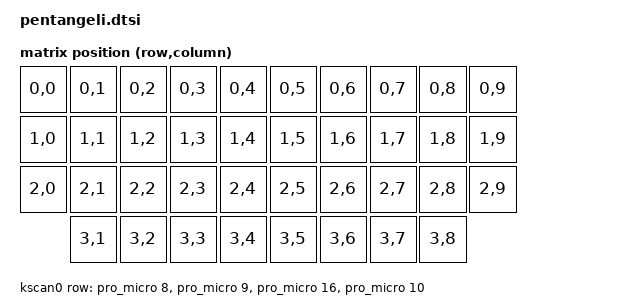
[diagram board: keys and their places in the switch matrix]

#include <dt-bindings/zmk/matrix_transform.h>

/ {
    chosen {
        zmk,kscan = &kscan0;
        zmk,matrix-transform = &default_transform;
    };

    default_transform: keymap_transform_0 {
        compatible = "zmk,matrix-transform";
        columns = <10>;
        rows = <4>;
        map = <
RC(0,0) RC(0,1) RC(0,2) RC(0,3) RC(0,4)  RC(0,5) RC(0,6) RC(0,7) RC(0,8) RC(0,9)
RC(1,0) RC(1,1) RC(1,2) RC(1,3) RC(1,4)  RC(1,5) RC(1,6) RC(1,7) RC(1,8) RC(1,9)
RC(2,0) RC(2,1) RC(2,2) RC(2,3) RC(2,4)  RC(2,5) RC(2,6) RC(2,7) RC(2,8) RC(2,9)
        RC(3,1) RC(3,2) RC(3,3) RC(3,4)  RC(3,5) RC(3,6) RC(3,7) RC(3,8)
        >;
    };

    kscan0: kscan {
        compatible = "zmk,kscan-gpio-matrix";
        wakeup-source;

        diode-direction = "col2row";
        row-gpios
            = <&pro_micro 8 (GPIO_ACTIVE_HIGH | GPIO_PULL_DOWN)>
            , <&pro_micro 9 (GPIO_ACTIVE_HIGH | GPIO_PULL_DOWN)>
            , <&pro_micro 16 (GPIO_ACTIVE_HIGH | GPIO_PULL_DOWN)>
            , <&pro_micro 10 (GPIO_ACTIVE_HIGH | GPIO_PULL_DOWN)>
            ;
    };

};

// Trackball
// https://github.com/badjeff/zmk-pmw3610-driver
&pinctrl {
    spi0_default: spi0_default {
        group1 {
            psels = <NRF_PSEL(SPIM_SCK, 0, 24)>,
                <NRF_PSEL(SPIM_MOSI, 0, 22)>,
                <NRF_PSEL(SPIM_MISO, 0, 22)>;
        };
    };

    spi0_sleep: spi0_sleep {
        group1 {
            psels = <NRF_PSEL(SPIM_SCK, 0, 24)>,
                <NRF_PSEL(SPIM_MOSI, 0, 22)>,
                <NRF_PSEL(SPIM_MISO, 0, 22)>;
            low-power-enable;
        };
    };
};

#include <zephyr/dt-bindings/input/input-event-codes.h>

&spi0 {
    status = "okay";
    compatible = "nordic,nrf-spim";
    pinctrl-0 = <&spi0_default>;
    pinctrl-1 = <&spi0_sleep>;
    pinctrl-names = "default", "sleep";
    cs-gpios = <&gpio0 00 GPIO_ACTIVE_LOW>;

    trackball: trackball@0 {
        status = "okay";
        compatible = "pixart,pmw3610";
        reg = <0>;
        spi-max-frequency = <2000000>;
        irq-gpios = <&gpio0 11 (GPIO_ACTIVE_LOW | GPIO_PULL_UP)>;
        cpi = <600>;
        evt-type = <INPUT_EV_REL>;
        x-input-code = <INPUT_REL_X>;
        y-input-code = <INPUT_REL_Y>;
    };
};

/ {
  trackball_listener {
    compatible = "zmk,input-listener";
    device = <&trackball>;
  };

};
